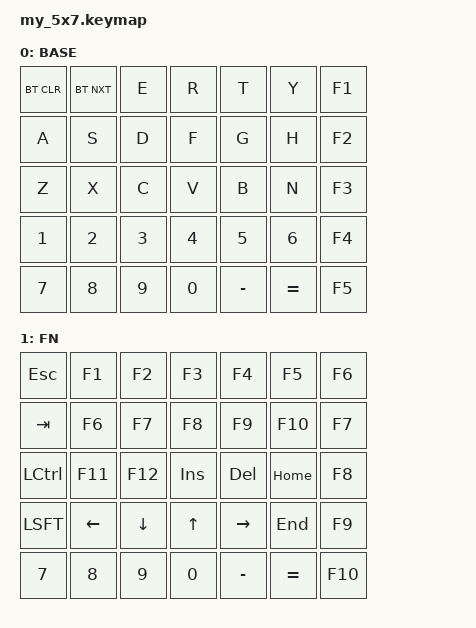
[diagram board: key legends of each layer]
#include <behaviors.dtsi>
#include <dt-bindings/zmk/keys.h>
#include <dt-bindings/zmk/bt.h>
#include <dt-bindings/zmk/outputs.h>

#define BASE 0
#define FN   1

/ {
    keymap {
        compatible = "zmk,keymap";

        base_layer {
            label = "BASE";
            bindings = <
             

              
                &bt BT_CLR   &bt BT_NXT      &kp E   &kp R   &kp T           &kp Y        &kp F1
                &kp A   &kp S   &kp D   &kp F   &kp G           &kp H        &kp F2
                &kp Z   &kp X   &kp C   &kp V   &kp B           &kp N        &kp F3
                &kp 1   &kp 2   &kp 3   &kp 4   &kp 5           &kp 6        &kp F4
                &kp 7   &kp 8   &kp 9   &kp 0   &kp MINUS       &kp EQUAL    &kp F5
            >;
        };

        fn_layer {
            label = "FN";
            bindings = <
                &kp ESC   &kp F1    &kp F2    &kp F3    &kp F4        &kp F5         &kp F6
                &kp TAB   &kp F6    &kp F7    &kp F8    &kp F9        &kp F10        &kp F7
                &kp LCTL  &kp F11   &kp F12   &kp INS   &kp DEL       &kp HOME       &kp F8
                &kp LSFT  &kp LEFT  &kp DOWN  &kp UP    &kp RIGHT     &kp END        &kp F9
                &kp 7     &kp 8     &kp 9     &kp 0     &kp MINUS     &kp EQUAL      &kp F10
            >;
        };
    };
};
